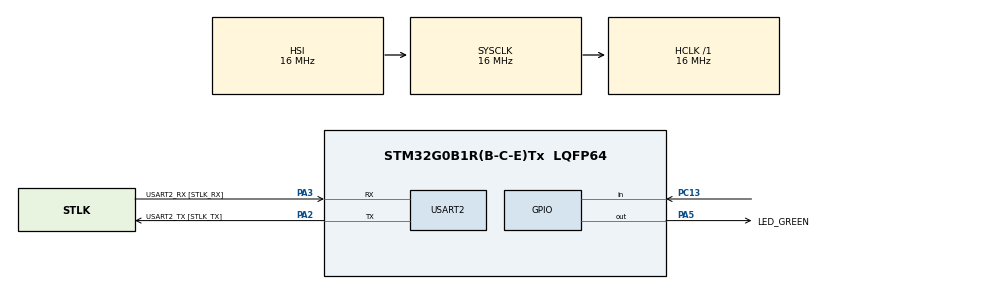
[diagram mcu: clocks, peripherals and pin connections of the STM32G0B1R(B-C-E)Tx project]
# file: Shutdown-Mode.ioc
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IWDG.Prescaler=IWDG_PRESCALER_256
IWDG.Reload=500
Mcu.Family=STM32G0
Mcu.Name=STM32G0B1R(B-C-E)Tx
Mcu.Package=LQFP64
PA13.GPIO_Label=TMS
PA13.Mode=Serial_Wire
PA13.Signal=SYS_SWDIO
PA14-BOOT0.GPIO_Label=TCK
PA14-BOOT0.Mode=Serial_Wire
PA14-BOOT0.Signal=SYS_SWCLK
PA2.GPIO_Label=USART2_TX [STLK_TX]
PA2.Mode=Asynchronous
PA2.Signal=USART2_TX
PA3.GPIO_Label=USART2_RX [STLK_RX]
PA3.Mode=Asynchronous
PA3.Signal=USART2_RX
PA5.GPIO_Label=LED_GREEN
PA5.GPIO_Speed=GPIO_SPEED_FREQ_HIGH
PA5.Signal=GPIO_Output
PC13.Signal=GPIO_Input
PC14-OSC32_IN\ (PC14).Mode=LSE-External-Oscillator
PC14-OSC32_IN\ (PC14).Signal=RCC_OSC32_IN
PC15-OSC32_OUT\ (PC15).Mode=LSE-External-Oscillator
PC15-OSC32_OUT\ (PC15).Signal=RCC_OSC32_OUT
PF0-OSC_IN\ (PF0).GPIO_Label=MCO
PF0-OSC_IN\ (PF0).Mode=HSE-External-Clock-Source
PF0-OSC_IN\ (PF0).Signal=RCC_OSC_IN
ProjectManager.HeapSize=0x200
ProjectManager.StackSize=0x400
ProjectManager.TargetToolchain=STM32CubeIDE
RCC.AHBFreq_Value=16000000
RCC.CortexFreq_Value=16000000
RCC.EXTERNAL_CLOCK_VALUE=12288000
RCC.HCLKFreq_Value=16000000
RCC.HSE_VALUE=8000000
RCC.HSI48_VALUE=48000000
RCC.HSI_VALUE=16000000
RCC.RTCClockSelection=RCC_RTCCLKSOURCE_LSE
RCC.SYSCLKFreq_VALUE=16000000
RCC.USBFreq_Value=48000000
RCC.VCOOutputFreq_Value=128000000
RTC.Date=28
RTC.WeekDay=RTC_WEEKDAY_WEDNESDAY
RTC.Year=26
USART2.VirtualMode-Asynchronous=VM_ASYNC
VP_IWDG_VS_IWDG.Mode=IWDG_Activate
VP_RTC_VS_RTC_Activate.Mode=RTC_Enabled
VP_RTC_VS_RTC_Calendar.Mode=RTC_Calendar
VP_SYS_VS_DBSignals.Mode=DisableDeadBatterySignals
board=NUCLEO-G0B1RE

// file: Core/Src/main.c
/* USER CODE BEGIN Header */
/**
  ******************************************************************************
  * @file           : main.c
  * @brief          : Main program body
  ******************************************************************************
  * @attention
  *
  * Copyright (c) 2026 STMicroelectronics.
  * All rights reserved.
  *
  * This software is licensed under terms that can be found in the LICENSE file
  * in the root directory of this software component.
  * If no LICENSE file comes with this software, it is provided AS-IS.
  *
  ******************************************************************************
  */
/* USER CODE END Header */
#include "main.h"

/* USER CODE BEGIN Includes */
#include <stdio.h>
/* USER CODE END Includes */

IWDG_HandleTypeDef hiwdg;

RTC_HandleTypeDef hrtc;

UART_HandleTypeDef huart2;

/* USER CODE BEGIN PV */
uint8_t delay = 200;		// Variable placed in .noinit, so its value is not reset on MCU reboot
RTC_TimeTypeDef hTime = {0};
RTC_DateTypeDef hDate = {0};

/* USER CODE END PV */

void SystemClock_Config(void);
static void MX_GPIO_Init(void);
static void MX_USART2_UART_Init(void);
static void MX_RTC_Init(void);
static void MX_IWDG_Init(void);

int main(void)
{

  /* USER CODE BEGIN 1 */
	uint8_t count = 0;

  /* USER CODE END 1 */

  /* MCU Configuration--------------------------------------------------------*/

  /* Reset of all peripherals, Initializes the Flash interface and the Systick. */
  HAL_Init();

  /* Configure the system clock */
  SystemClock_Config();

  /* Initialize all configured peripherals */
  MX_GPIO_Init();
  MX_USART2_UART_Init();
  MX_RTC_Init();
  MX_IWDG_Init();
  /* USER CODE BEGIN 2 */
  while(HAL_GPIO_ReadPin(GPIOC, GPIO_PIN_13) == GPIO_PIN_RESET)		// Wait realese Boton
	  HAL_IWDG_Refresh(&hiwdg);
  /* USER CODE END 2 */

  /* Infinite loop */
  /* USER CODE BEGIN WHILE */
  while (1)
  {
	  if(HAL_GPIO_ReadPin(GPIOC, GPIO_PIN_13) == GPIO_PIN_RESET){
	 		  HAL_Delay(50);		// Delay of 50 miliseconds
	 		  if(HAL_GPIO_ReadPin(GPIOC, GPIO_PIN_13) == GPIO_PIN_RESET){

	 			  while(HAL_GPIO_ReadPin(GPIOC, GPIO_PIN_13) == GPIO_PIN_RESET)	// Release the button
	 				  HAL_IWDG_Refresh(&hiwdg);

	 			  HAL_Delay(50);

	 			  __HAL_PWR_CLEAR_FLAG(PWR_SCR_CWUF);				// Clear Wake-up Pin Flags
	 			  HAL_PWR_EnableWakeUpPin(PWR_WAKEUP_PIN2_LOW);		// Enable Wake-up Pin

	 			  HAL_PWREx_EnterSHUTDOWNMode();						// Entrance in shutdown mode
	 		  }

	 	}

	 	  // Toggle Led Pin
	 	  HAL_Delay(delay);
	 	  HAL_GPIO_TogglePin(LED_GREEN_GPIO_Port, LED_GREEN_Pin);

	 	  // Obtain the Date and Time
	 	  HAL_RTC_GetDate(&hrtc, &hDate, RTC_FORMAT_BIN);
	 	  HAL_RTC_GetTime(&hrtc, &hTime, RTC_FORMAT_BIN);

	 	 count++;
	 	  if(count == 10){
	 		  count = 0;
	 		 printf("%02d:%02d:%02d  %02d/%02d/20%02d\r\n",
	 				hTime.Hours,
					hTime.Minutes,
					hTime.Seconds,
					hDate.Date,
					hDate.Month,
					hDate.Year);
	 	  }

	 	  HAL_IWDG_Refresh(&hiwdg);		// Refresh IWDG,	Remember, uncheck IWDG_STDBY to Freeze IWDDG counter in standby mode

    /* USER CODE END WHILE */

  }
}

void SystemClock_Config(void)
{
  RCC_OscInitTypeDef RCC_OscInitStruct = {0};
  RCC_ClkInitTypeDef RCC_ClkInitStruct = {0};

  /** Configure the main internal regulator output voltage
  */
  HAL_PWREx_ControlVoltageScaling(PWR_REGULATOR_VOLTAGE_SCALE1);

  /** Configure LSE Drive Capability
  */
  HAL_PWR_EnableBkUpAccess();
  __HAL_RCC_LSEDRIVE_CONFIG(RCC_LSEDRIVE_LOW);

  /** Initializes the RCC Oscillators according to the specified parameters
  * in the RCC_OscInitTypeDef structure.
  */
  RCC_OscInitStruct.OscillatorType = RCC_OSCILLATORTYPE_HSI|RCC_OSCILLATORTYPE_LSI
                              |RCC_OSCILLATORTYPE_LSE;
  RCC_OscInitStruct.LSEState = RCC_LSE_ON;
  RCC_OscInitStruct.HSIState = RCC_HSI_ON;
  RCC_OscInitStruct.HSIDiv = RCC_HSI_DIV1;
  RCC_OscInitStruct.HSICalibrationValue = RCC_HSICALIBRATION_DEFAULT;
  RCC_OscInitStruct.LSIState = RCC_LSI_ON;
  RCC_OscInitStruct.PLL.PLLState = RCC_PLL_NONE;
  if (HAL_RCC_OscConfig(&RCC_OscInitStruct) != HAL_OK)
  {
    Error_Handler();
  }

  /** Initializes the CPU, AHB and APB buses clocks
  */
  RCC_ClkInitStruct.ClockType = RCC_CLOCKTYPE_HCLK|RCC_CLOCKTYPE_SYSCLK
                              |RCC_CLOCKTYPE_PCLK1;
  RCC_ClkInitStruct.SYSCLKSource = RCC_SYSCLKSOURCE_HSI;
  RCC_ClkInitStruct.AHBCLKDivider = RCC_SYSCLK_DIV1;
  RCC_ClkInitStruct.APB1CLKDivider = RCC_HCLK_DIV1;

  if (HAL_RCC_ClockConfig(&RCC_ClkInitStruct, FLASH_LATENCY_0) != HAL_OK)
  {
    Error_Handler();
  }
}

static void MX_IWDG_Init(void)
{

  hiwdg.Instance = IWDG;
  hiwdg.Init.Prescaler = IWDG_PRESCALER_256;
  hiwdg.Init.Window = 4095;
  hiwdg.Init.Reload = 500;
  if (HAL_IWDG_Init(&hiwdg) != HAL_OK)
  {
    Error_Handler();
  }

}

static void MX_RTC_Init(void)
{

  RTC_TimeTypeDef sTime = {0};
  RTC_DateTypeDef sDate = {0};

  /** Initialize RTC Only
  */
  hrtc.Instance = RTC;
  hrtc.Init.HourFormat = RTC_HOURFORMAT_24;
  hrtc.Init.AsynchPrediv = 127;
  hrtc.Init.SynchPrediv = 255;
  hrtc.Init.OutPut = RTC_OUTPUT_DISABLE;
  hrtc.Init.OutPutRemap = RTC_OUTPUT_REMAP_NONE;
  hrtc.Init.OutPutPolarity = RTC_OUTPUT_POLARITY_HIGH;
  hrtc.Init.OutPutType = RTC_OUTPUT_TYPE_OPENDRAIN;
  hrtc.Init.OutPutPullUp = RTC_OUTPUT_PULLUP_NONE;
  if (HAL_RTC_Init(&hrtc) != HAL_OK)
  {
    Error_Handler();
  }

  /* USER CODE BEGIN Check_RTC_BKUP */
  if (HAL_RTCEx_BKUPRead(&hrtc, RTC_BKP_DR0) == 2244)
	  return;
  /* USER CODE END Check_RTC_BKUP */

  /** Initialize RTC and set the Time and Date
  */
  sTime.Hours = 0x0;
  sTime.Minutes = 0x0;
  sTime.Seconds = 0x0;
  sTime.SubSeconds = 0x0;
  sTime.DayLightSaving = RTC_DAYLIGHTSAVING_NONE;
  sTime.StoreOperation = RTC_STOREOPERATION_RESET;
  if (HAL_RTC_SetTime(&hrtc, &sTime, RTC_FORMAT_BCD) != HAL_OK)
  {
    Error_Handler();
  }
  sDate.WeekDay = RTC_WEEKDAY_WEDNESDAY;
  sDate.Month = RTC_MONTH_JANUARY;
  sDate.Date = 0x28;
  sDate.Year = 0x26;

  if (HAL_RTC_SetDate(&hrtc, &sDate, RTC_FORMAT_BCD) != HAL_OK)
  {
    Error_Handler();
  }
  /* USER CODE BEGIN RTC_Init 2 */
  HAL_RTCEx_BKUPWrite(&hrtc, RTC_BKP_DR0, 2244);
  /* USER CODE END RTC_Init 2 */

}

static void MX_USART2_UART_Init(void)
{

  huart2.Instance = USART2;
  huart2.Init.BaudRate = 115200;
  huart2.Init.WordLength = UART_WORDLENGTH_8B;
  huart2.Init.StopBits = UART_STOPBITS_1;
  huart2.Init.Parity = UART_PARITY_NONE;
  huart2.Init.Mode = UART_MODE_TX_RX;
  huart2.Init.HwFlowCtl = UART_HWCONTROL_NONE;
  huart2.Init.OverSampling = UART_OVERSAMPLING_16;
  huart2.Init.OneBitSampling = UART_ONE_BIT_SAMPLE_DISABLE;
  huart2.Init.ClockPrescaler = UART_PRESCALER_DIV1;
  huart2.AdvancedInit.AdvFeatureInit = UART_ADVFEATURE_NO_INIT;
  if (HAL_UART_Init(&huart2) != HAL_OK)
  {
    Error_Handler();
  }
  if (HAL_UARTEx_SetTxFifoThreshold(&huart2, UART_TXFIFO_THRESHOLD_1_8) != HAL_OK)
  {
    Error_Handler();
  }
  if (HAL_UARTEx_SetRxFifoThreshold(&huart2, UART_RXFIFO_THRESHOLD_1_8) != HAL_OK)
  {
    Error_Handler();
  }
  if (HAL_UARTEx_DisableFifoMode(&huart2) != HAL_OK)
  {
    Error_Handler();
  }

}

static void MX_GPIO_Init(void)
{
  GPIO_InitTypeDef GPIO_InitStruct = {0};

  /* GPIO Ports Clock Enable */
  __HAL_RCC_GPIOC_CLK_ENABLE();
  __HAL_RCC_GPIOF_CLK_ENABLE();
  __HAL_RCC_GPIOA_CLK_ENABLE();
  __HAL_RCC_GPIOB_CLK_ENABLE();
  __HAL_RCC_GPIOD_CLK_ENABLE();

  /*Configure GPIO pin Output Level */
  HAL_GPIO_WritePin(LED_GREEN_GPIO_Port, LED_GREEN_Pin, GPIO_PIN_RESET);

  /*Configure GPIO pins : PC11 PC12 PC0 PC1
                           PC2 PC3 PC4 PC5
                           PC6 PC7 PC8 PC9
                           PC10 */
  GPIO_InitStruct.Pin = GPIO_PIN_11|GPIO_PIN_12|GPIO_PIN_0|GPIO_PIN_1
                          |GPIO_PIN_2|GPIO_PIN_3|GPIO_PIN_4|GPIO_PIN_5
                          |GPIO_PIN_6|GPIO_PIN_7|GPIO_PIN_8|GPIO_PIN_9
                          |GPIO_PIN_10;
  GPIO_InitStruct.Mode = GPIO_MODE_ANALOG;
  GPIO_InitStruct.Pull = GPIO_NOPULL;
  HAL_GPIO_Init(GPIOC, &GPIO_InitStruct);

  /*Configure GPIO pin : PC13 */
  GPIO_InitStruct.Pin = GPIO_PIN_13;
  GPIO_InitStruct.Mode = GPIO_MODE_INPUT;
  GPIO_InitStruct.Pull = GPIO_NOPULL;
  HAL_GPIO_Init(GPIOC, &GPIO_InitStruct);

  /*Configure GPIO pins : PF1 PF2 */
  GPIO_InitStruct.Pin = GPIO_PIN_1|GPIO_PIN_2;
  GPIO_InitStruct.Mode = GPIO_MODE_ANALOG;
  GPIO_InitStruct.Pull = GPIO_NOPULL;
  HAL_GPIO_Init(GPIOF, &GPIO_InitStruct);

  /*Configure GPIO pins : PA0 PA1 PA4 PA6
                           PA7 PA8 PA9 PA10
                           PA11 PA12 PA15 */
  GPIO_InitStruct.Pin = GPIO_PIN_0|GPIO_PIN_1|GPIO_PIN_4|GPIO_PIN_6
                          |GPIO_PIN_7|GPIO_PIN_8|GPIO_PIN_9|GPIO_PIN_10
                          |GPIO_PIN_11|GPIO_PIN_12|GPIO_PIN_15;
  GPIO_InitStruct.Mode = GPIO_MODE_ANALOG;
  GPIO_InitStruct.Pull = GPIO_NOPULL;
  HAL_GPIO_Init(GPIOA, &GPIO_InitStruct);

  /*Configure GPIO pin : LED_GREEN_Pin */
  GPIO_InitStruct.Pin = LED_GREEN_Pin;
  GPIO_InitStruct.Mode = GPIO_MODE_OUTPUT_PP;
  GPIO_InitStruct.Pull = GPIO_NOPULL;
  GPIO_InitStruct.Speed = GPIO_SPEED_FREQ_HIGH;
  HAL_GPIO_Init(LED_GREEN_GPIO_Port, &GPIO_InitStruct);

  /*Configure GPIO pins : PB0 PB1 PB2 PB10
                           PB11 PB12 PB13 PB14
                           PB15 PB3 PB4 PB5
                           PB6 PB7 PB8 PB9 */
  GPIO_InitStruct.Pin = GPIO_PIN_0|GPIO_PIN_1|GPIO_PIN_2|GPIO_PIN_10
                          |GPIO_PIN_11|GPIO_PIN_12|GPIO_PIN_13|GPIO_PIN_14
                          |GPIO_PIN_15|GPIO_PIN_3|GPIO_PIN_4|GPIO_PIN_5
                          |GPIO_PIN_6|GPIO_PIN_7|GPIO_PIN_8|GPIO_PIN_9;
  GPIO_InitStruct.Mode = GPIO_MODE_ANALOG;
  GPIO_InitStruct.Pull = GPIO_NOPULL;
  HAL_GPIO_Init(GPIOB, &GPIO_InitStruct);

  /*Configure GPIO pins : PD8 PD9 PD0 PD1
                           PD2 PD3 PD4 PD5
                           PD6 */
  GPIO_InitStruct.Pin = GPIO_PIN_8|GPIO_PIN_9|GPIO_PIN_0|GPIO_PIN_1
                          |GPIO_PIN_2|GPIO_PIN_3|GPIO_PIN_4|GPIO_PIN_5
                          |GPIO_PIN_6;
  GPIO_InitStruct.Mode = GPIO_MODE_ANALOG;
  GPIO_InitStruct.Pull = GPIO_NOPULL;
  HAL_GPIO_Init(GPIOD, &GPIO_InitStruct);

}

/* USER CODE BEGIN 4 */
int _write(int file, char *ptr, int len)
{
    HAL_UART_Transmit(&huart2, (uint8_t*)ptr, len, HAL_MAX_DELAY);
    return len;
}
/* USER CODE END 4 */

void Error_Handler(void)
{
  __disable_irq();
  while (1)
  {
  }
}
